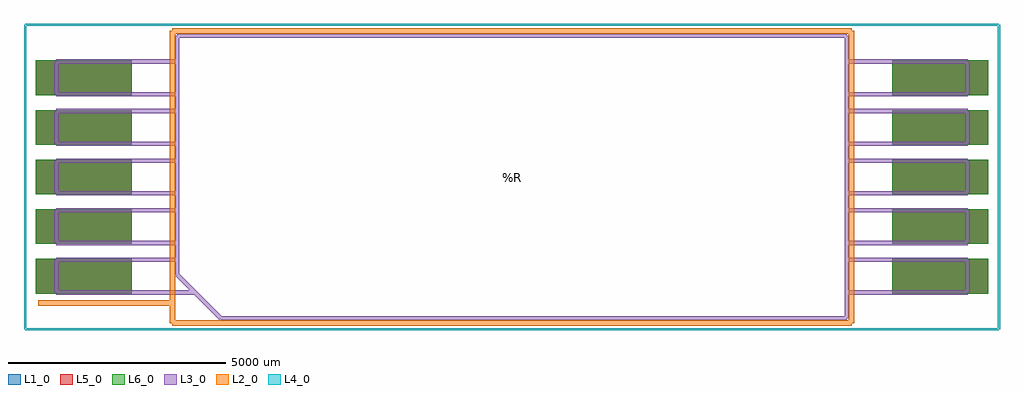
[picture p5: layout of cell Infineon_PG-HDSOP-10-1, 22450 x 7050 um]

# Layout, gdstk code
import gdstk
lib = gdstk.Library(unit=1e-6, precision=1e-09)
def R(c, l, rs):  # rectangles x0, y0, x1, y1
    for r in rs: c.add(gdstk.rectangle(r[:2], r[2:], *l))
def A(c, l, x, y, w, h, nx, ny, dx, dy):  # array of equal rectangles
    R(c, l, [(x+i*dx, y+j*dy, x+i*dx+w, y+j*dy+h) for i in range(nx) for j in range(ny)])
L1_0 = (1, 0)
L2_0 = (2, 0)
L3_0 = (3, 0)
L4_0 = (4, 0)
L5_0 = (5, 0)
L6_0 = (6, 0)

infineon_pg_hdsop_10_1 = lib.new_cell('Infineon_PG-HDSOP-10-1')
A(infineon_pg_hdsop_10_1, L1_0, -10950, -2680, 2200, 800, 1, 5, 0, 1140)
A(infineon_pg_hdsop_10_1, L1_0, 8750, -2680, 2200, 800, 1, 5, 0, 1140)
A(infineon_pg_hdsop_10_1, L5_0, -10950, -2680, 2200, 800, 1, 5, 0, 1140)
A(infineon_pg_hdsop_10_1, L5_0, 8750, -2680, 2200, 800, 1, 5, 0, 1140)
A(infineon_pg_hdsop_10_1, L6_0, -10950, -2680, 2200, 800, 1, 5, 0, 1140)
A(infineon_pg_hdsop_10_1, L6_0, 8750, -2680, 2200, 800, 1, 5, 0, 1140)
infineon_pg_hdsop_10_1.add(gdstk.FlexPath([(-10480,375),(-7700,375)], 100, ends="flush", simple_path=True, layer=3, datatype=0))  # L3_0
infineon_pg_hdsop_10_1.add(gdstk.FlexPath([(-10480,-375),(-10480,375)], 100, ends="flush", simple_path=True, layer=3, datatype=0))  # L3_0
infineon_pg_hdsop_10_1.add(gdstk.FlexPath([(-7700,-375),(-10480,-375)], 100, ends="flush", simple_path=True, layer=3, datatype=0))  # L3_0
infineon_pg_hdsop_10_1.add(gdstk.FlexPath([(-10900,-2900),(-7810,-2900)], 120, ends="flush", simple_path=True, layer=2, datatype=0))  # L2_0
infineon_pg_hdsop_10_1.add(gdstk.FlexPath([(-6700,-3250),(-7700,-2250)], 100, ends="flush", simple_path=True, layer=3, datatype=0))  # L3_0
infineon_pg_hdsop_10_1.add(gdstk.FlexPath([(-11200,-3500),(-11200,3500)], 50, ends="flush", simple_path=True, layer=4, datatype=0))  # L4_0
infineon_pg_hdsop_10_1.add(gdstk.FlexPath([(11200,-3500),(11200,3500)], 50, ends="flush", simple_path=True, layer=4, datatype=0))  # L4_0
infineon_pg_hdsop_10_1.add(gdstk.FlexPath([(-11200,3500),(11200,3500)], 50, ends="flush", simple_path=True, layer=4, datatype=0))  # L4_0
infineon_pg_hdsop_10_1.add(gdstk.FlexPath([(-11200,-3500),(11200,-3500)], 50, ends="flush", simple_path=True, layer=4, datatype=0))  # L4_0
infineon_pg_hdsop_10_1.add(gdstk.FlexPath([(-7810,-3360),(7810,-3360)], 120, ends="flush", simple_path=True, layer=2, datatype=0))  # L2_0
infineon_pg_hdsop_10_1.add(gdstk.FlexPath([(-7810,3360),(-7810,-3360)], 120, ends="flush", simple_path=True, layer=2, datatype=0))  # L2_0
infineon_pg_hdsop_10_1.add(gdstk.FlexPath([(7810,3360),(7810,-3360)], 120, ends="flush", simple_path=True, layer=2, datatype=0))  # L2_0
infineon_pg_hdsop_10_1.add(gdstk.FlexPath([(-7810,3360),(7810,3360)], 120, ends="flush", simple_path=True, layer=2, datatype=0))  # L2_0
infineon_pg_hdsop_10_1.add(gdstk.FlexPath([(7700,3250),(7700,-3250)], 100, ends="flush", simple_path=True, layer=3, datatype=0))  # L3_0
infineon_pg_hdsop_10_1.add(gdstk.FlexPath([(-7700,3250),(7700,3250)], 100, ends="flush", simple_path=True, layer=3, datatype=0))  # L3_0
infineon_pg_hdsop_10_1.add(gdstk.FlexPath([(-7700,3250),(-7700,-2250)], 100, ends="flush", simple_path=True, layer=3, datatype=0))  # L3_0
infineon_pg_hdsop_10_1.add(gdstk.FlexPath([(-6700,-3250),(7700,-3250)], 100, ends="flush", simple_path=True, layer=3, datatype=0))  # L3_0
infineon_pg_hdsop_10_1.add(gdstk.FlexPath([(10480,-765),(7700,-765)], 100, ends="flush", simple_path=True, layer=3, datatype=0))  # L3_0
infineon_pg_hdsop_10_1.add(gdstk.FlexPath([(10480,-1515),(10480,-765)], 100, ends="flush", simple_path=True, layer=3, datatype=0))  # L3_0
infineon_pg_hdsop_10_1.add(gdstk.FlexPath([(7700,-1515),(10480,-1515)], 100, ends="flush", simple_path=True, layer=3, datatype=0))  # L3_0
infineon_pg_hdsop_10_1.add(gdstk.FlexPath([(10480,-1905),(7700,-1905)], 100, ends="flush", simple_path=True, layer=3, datatype=0))  # L3_0
infineon_pg_hdsop_10_1.add(gdstk.FlexPath([(10480,-2655),(10480,-1905)], 100, ends="flush", simple_path=True, layer=3, datatype=0))  # L3_0
infineon_pg_hdsop_10_1.add(gdstk.FlexPath([(7700,-2655),(10480,-2655)], 100, ends="flush", simple_path=True, layer=3, datatype=0))  # L3_0
infineon_pg_hdsop_10_1.add(gdstk.FlexPath([(10480,1515),(7700,1515)], 100, ends="flush", simple_path=True, layer=3, datatype=0))  # L3_0
infineon_pg_hdsop_10_1.add(gdstk.FlexPath([(10480,765),(10480,1515)], 100, ends="flush", simple_path=True, layer=3, datatype=0))  # L3_0
infineon_pg_hdsop_10_1.add(gdstk.FlexPath([(7700,765),(10480,765)], 100, ends="flush", simple_path=True, layer=3, datatype=0))  # L3_0
infineon_pg_hdsop_10_1.add(gdstk.FlexPath([(10480,2655),(7700,2655)], 100, ends="flush", simple_path=True, layer=3, datatype=0))  # L3_0
infineon_pg_hdsop_10_1.add(gdstk.FlexPath([(10480,1905),(10480,2655)], 100, ends="flush", simple_path=True, layer=3, datatype=0))  # L3_0
infineon_pg_hdsop_10_1.add(gdstk.FlexPath([(7700,1905),(10480,1905)], 100, ends="flush", simple_path=True, layer=3, datatype=0))  # L3_0
infineon_pg_hdsop_10_1.add(gdstk.FlexPath([(10480,375),(7700,375)], 100, ends="flush", simple_path=True, layer=3, datatype=0))  # L3_0
infineon_pg_hdsop_10_1.add(gdstk.FlexPath([(10480,-375),(10480,375)], 100, ends="flush", simple_path=True, layer=3, datatype=0))  # L3_0
infineon_pg_hdsop_10_1.add(gdstk.FlexPath([(7700,-375),(10480,-375)], 100, ends="flush", simple_path=True, layer=3, datatype=0))  # L3_0
infineon_pg_hdsop_10_1.add(gdstk.FlexPath([(-10480,1515),(-7700,1515)], 100, ends="flush", simple_path=True, layer=3, datatype=0))  # L3_0
infineon_pg_hdsop_10_1.add(gdstk.FlexPath([(-10480,765),(-10480,1515)], 100, ends="flush", simple_path=True, layer=3, datatype=0))  # L3_0
infineon_pg_hdsop_10_1.add(gdstk.FlexPath([(-7700,765),(-10480,765)], 100, ends="flush", simple_path=True, layer=3, datatype=0))  # L3_0
infineon_pg_hdsop_10_1.add(gdstk.FlexPath([(-10480,1905),(-10480,2655)], 100, ends="flush", simple_path=True, layer=3, datatype=0))  # L3_0
infineon_pg_hdsop_10_1.add(gdstk.FlexPath([(-7700,1905),(-10480,1905)], 100, ends="flush", simple_path=True, layer=3, datatype=0))  # L3_0
infineon_pg_hdsop_10_1.add(gdstk.FlexPath([(-10480,2655),(-7700,2655)], 100, ends="flush", simple_path=True, layer=3, datatype=0))  # L3_0
infineon_pg_hdsop_10_1.add(gdstk.FlexPath([(-10480,-1515),(-10480,-765)], 100, ends="flush", simple_path=True, layer=3, datatype=0))  # L3_0
infineon_pg_hdsop_10_1.add(gdstk.FlexPath([(-7700,-1515),(-10480,-1515)], 100, ends="flush", simple_path=True, layer=3, datatype=0))  # L3_0
infineon_pg_hdsop_10_1.add(gdstk.FlexPath([(-10480,-765),(-7700,-765)], 100, ends="flush", simple_path=True, layer=3, datatype=0))  # L3_0
infineon_pg_hdsop_10_1.add(gdstk.FlexPath([(-10480,-2655),(-10480,-1905)], 100, ends="flush", simple_path=True, layer=3, datatype=0))  # L3_0
infineon_pg_hdsop_10_1.add(gdstk.FlexPath([(-7300,-2655),(-10480,-2655)], 100, ends="flush", simple_path=True, layer=3, datatype=0))  # L3_0
infineon_pg_hdsop_10_1.add(gdstk.FlexPath([(-10480,-1905),(-7700,-1905)], 100, ends="flush", simple_path=True, layer=3, datatype=0))  # L3_0
infineon_pg_hdsop_10_1.add(gdstk.Label('REF**', (0,-4500), layer=2, texttype=0))
infineon_pg_hdsop_10_1.add(gdstk.Label('Infineon_PG-HDSOP-10-1', (0,4500), layer=3, texttype=0))
infineon_pg_hdsop_10_1.add(gdstk.Label('%R', (0,0), layer=3, texttype=0))

lib.write_gds('Infineon_PG-HDSOP-10-1.gds')
